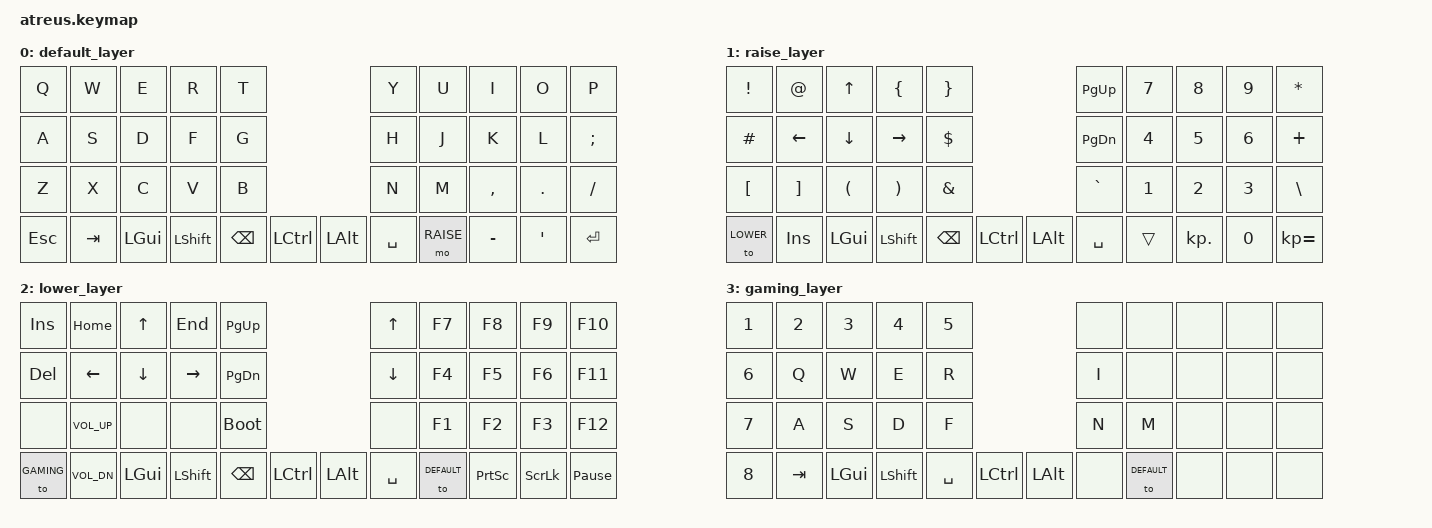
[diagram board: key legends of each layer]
/*
 * Copyright (c) 2020 The ZMK Contributors
 *
 * SPDX-License-Identifier: MIT
 */

#include <behaviors.dtsi>
#include <dt-bindings/zmk/keys.h>
#include <dt-bindings/zmk/rgb.h>

#define DEFAULT 0
#define RAISE 1
#define LOWER 2
#define GAMING 3

/ {
	keymap {
		compatible = "zmk,keymap";

		default_layer {
// ---------------------------------------------------------------------------------------------------------------------------------
// |  Q   |  W   |  E   |    R    |   T    |             |    Y     |   U     |  I  |  O |   P    |
// |  A   |  S   |  D   |    F    |   G    |             |    H     |   J     |  K  |  L |   ;    |
// |  Z   |  X   |  C   |    V    |   B    |             |    N     |   M     |  ,  |  . |   /    |
// | ESC  | TAB  | GUI  |  SHIFT  |   BSPC | CTRL | ALT |  SPACE   |  MO(RAISE)  |  -  |  ' | RETURN |
			bindings = <
	&kp Q   &kp W   &kp E    &kp R      &kp T                       &kp Y     &kp U     &kp I     &kp O    &kp P
	&kp A   &kp S   &kp D    &kp F      &kp G                       &kp H     &kp J     &kp K     &kp L    &kp SEMI
	&kp Z   &kp X   &kp C    &kp V      &kp B                       &kp N     &kp M     &kp COMMA &kp DOT  &kp FSLH
	&kp ESC &kp TAB &kp LGUI &kp LSHIFT &kp BSPC &kp LCTRL &kp LALT &kp SPACE &mo RAISE &kp MINUS &kp APOS &kp RETURN
			>;
		};
		
		raise_layer {
// ---------------------------------------------------------------------------------------------------------------------------------
// |  !     |    @    |   UP  |    {    |    }   |            |   pgup   |   7    |  8  |  9 |  * |
// |  #     |  left   |  down |  right  |    $   |            |   pgdn   |   4    |  5  |  6 |  + |
// |  [     |    ]    |   (   |    )    |    &   |            |    `     |   1    |  2  |  3 |  \ |
// | TO(LOWER)  |  insert |  GUI  |  SHIFT  |   BSPC | CTRL | ALT |  SPACE   |  TRANS |  .  |  0 |  = |
			bindings = <
	&kp EXCL  &kp AT   &kp UP   &kp LBRC   &kp RBRC                    &kp PG_UP &kp N7 &kp N8     &kp N9 &kp STAR
	&kp HASH  &kp LEFT &kp DOWN &kp RIGHT  &kp DLLR                    &kp PG_DN &kp N4 &kp N5     &kp N6 &kp PLUS
	&kp LBKT  &kp RBKT &kp LPAR &kp RPAR   &kp AMPS                    &kp GRAVE &kp N1 &kp N2     &kp N3 &kp BSLH
	&to LOWER &kp INS  &kp LGUI &kp LSHIFT &kp BSPC &kp LCTRL &kp LALT &kp SPACE &trans &kp KP_DOT &kp N0 &kp KP_EQUAL
			>;
		};

	    lower_layer {
// ---------------------------------------------------------------------------------------------------------------------------------
// |   insert   | home  |   UP  |   end   |  pgup  |            |    up    | F7 | F8 | F9 | F10 |
// |    del     | left  |  down |  right  |  pgdn  |            |   down   | F4 | F5 | F6 | F11 |
// |            | volup |       |         |        |            |          | F1 | F2 | F3 | F12 |
// | TO(GAMING) | voldn |  GUI  |  SHIFT  |   BSPC | CTRL | ALT |  SPACE   |  TO(DEFAULT) | print | scroll |  pause |
			bindings = <
	&kp INS    &kp HOME      &kp UP   &kp END    &kp PG_UP                    &kp UP    &kp F7      &kp F8    &kp F9   &kp F10
	&kp DEL    &kp LEFT      &kp DOWN &kp RIGHT  &kp PG_DN                    &kp DOWN  &kp F4      &kp F5    &kp F6   &kp F11
	&none      &kp C_VOL_UP  &none    &none      &bootloader                        &none     &kp F1      &kp F2    &kp F3   &kp F12
	&to GAMING &kp C_VOL_DN  &kp LGUI &kp LSHIFT &kp BSPC  &kp LCTRL &kp LALT &kp SPACE &to DEFAULT &kp PSCRN &kp SLCK &kp PAUSE_BREAK
			>;
		};
	    gaming_layer {
// ---------------------------------------------------------------------------------------------------------------------------------
// | 1 |  2  |   3  |    4   |   5   |            |   |             |  |  |  |
// | 6 |  Q  |   W  |    E   |   R   |            | I |             |  |  |  |
// | 7 |  A  |   S  |    D   |   F   |            | N |      M      |  |  |  |
// | 8 | TAB |  ESC |  SHIFT | SPACE | CTRL | ALT |   | TO(DEFAULT) |  |  |  |
			bindings = <
	&kp N1 &kp N2  &kp N3   &kp N4     &kp N5                        &none &none       &none &none &none
	&kp N6 &kp Q   &kp W    &kp E      &kp R                         &kp I &none       &none &none &none   
	&kp N7 &kp A   &kp S    &kp D      &kp F                         &kp N &kp M       &none &none &none  
	&kp N8 &kp TAB &kp LGUI &kp LSHIFT &kp SPACE  &kp LCTRL &kp LALT &none &to DEFAULT &none &none &none 
			>;
		};
	};
};
